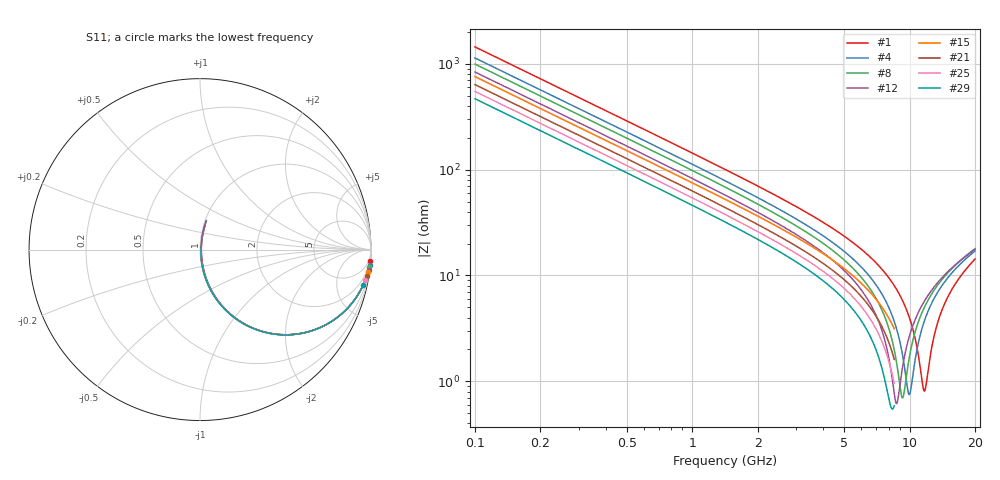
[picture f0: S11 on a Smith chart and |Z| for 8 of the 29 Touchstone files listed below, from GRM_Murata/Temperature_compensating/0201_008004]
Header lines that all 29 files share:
!These Parameters are Measured in Series Mode Connection
!Data Generated on Mar 30, 2021
!  o--ll--o
!Port1  Port2
!  o------o
!Operation Temp=25[degC], DC Bias Voltage=0[V]
# Hz S RI R 50
!Freq.(Hz) S11(Real) S11(Imag) S21(Real) S21(Imag) S12(Real) S12(Imag) S22(Real) S22(Imag)
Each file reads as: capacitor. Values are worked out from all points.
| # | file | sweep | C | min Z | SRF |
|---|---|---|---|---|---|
| 1 | GRM0115C1C1R1CE11.s2p | 100 MHz to 20 GHz | 1.1 pF | 807 mohm | 11.7 GHz |
| 2 | GRM0115C1C1R2CE01.s2p | 100 MHz to 20 GHz | 1.2 pF | 774 mohm | 10.5 GHz |
| 3 | GRM0115C1C1R3CE11.s2p | 100 MHz to 20 GHz | 1.3 pF | 795 mohm | 10.6 GHz |
| 4 | GRM0115C1C1R4BE01.s2p | 100 MHz to 20 GHz | 1.4 pF | 748 mohm | 9.964 GHz |
| 5 | GRM0115C1C1R4CE11.s2p | 100 MHz to 20 GHz | 1.4 pF | 793 mohm | 10.09 GHz |
| 6 | GRM0115C1C1R5BE11.s2p | 100 MHz to 20 GHz | 1.5 pF | 788 mohm | 9.77 GHz |
| 7 | GRM0115C1C1R5CE01.s2p | 100 MHz to 20 GHz | 1.5 pF | 712 mohm | 9.578 GHz |
| 8 | GRM0115C1C1R6BE01.s2p | 100 MHz to 20 GHz | 1.6 pF | 697 mohm | 9.278 GHz |
| 9 | GRM0115C1C1R6BE11.s2p | 100 MHz to 20 GHz | 1.6 pF | 786 mohm | 9.395 GHz |
| 10 | GRM0115C1C1R7CE11.s2p | 100 MHz to 20 GHz | 1.7 pF | 783 mohm | 9.084 GHz |
| 11 | GRM0115C1C1R8BE01.s2p | 100 MHz to 20 GHz | 1.8 pF | 636 mohm | 8.982 GHz |
| 12 | GRM0115C1C1R9CE01.s2p | 100 MHz to 20 GHz | 1.9 pF | 615 mohm | 8.708 GHz |
| 13 | GRM0115C1C1R9WE11.s2p | 100 MHz to 20 GHz | 1.9 pF | 761 mohm | 8.635 GHz |
| 14 | GRM0115C1C2R0CE11.s2p | 100 MHz to 20 GHz | 2 pF | 748 mohm | 8.393 GHz |
| 15 | GRM0115C1C2R1BE01.s2p | 100 MHz to 8.5 GHz | 2.1 pF | 3.13 ohm | - |
| 16 | GRM0115C1C2R2BE11.s2p | 100 MHz to 8.5 GHz | 2.2 pF | 2.74 ohm | - |
| 17 | GRM0115C1C2R2CE01.s2p | 100 MHz to 8.5 GHz | 2.2 pF | 2.74 ohm | - |
| 18 | GRM0115C1C2R3BE01.s2p | 100 MHz to 8.5 GHz | 2.3 pF | 2.23 ohm | - |
| 19 | GRM0115C1C2R3BE11.s2p | 100 MHz to 8.5 GHz | 2.3 pF | 2.23 ohm | - |
| 20 | GRM0115C1C2R4CE01.s2p | 100 MHz to 8.5 GHz | 2.4 pF | 1.91 ohm | - |
| 21 | GRM0115C1C2R5CE01.s2p | 100 MHz to 8.5 GHz | 2.5 pF | 1.61 ohm | - |
| 22 | GRM0115C1C2R6CE01.s2p | 100 MHz to 8.5 GHz | 2.6 pF | 1.38 ohm | - |
| 23 | GRM0115C1C2R7CE01.s2p | 100 MHz to 8.5 GHz | 2.7 pF | 1.15 ohm | - |
| 24 | GRM0115C1C2R8BE01.s2p | 100 MHz to 8.5 GHz | 2.8 pF | 953 mohm | - |
| 25 | GRM0115C1C2R9BE01.s2p | 100 MHz to 8.5 GHz | 2.9 pF | 954 mohm | - |
| 26 | GRM0115C1C3R1BE01.s2p | 100 MHz to 8.5 GHz | 3.1 pF | 669 mohm | - |
| 27 | GRM0115C1C3R2BE01.s2p | 100 MHz to 8.5 GHz | 3.2 pF | 570 mohm | - |
| 28 | GRM0115C1C3R3CE01.s2p | 100 MHz to 8.5 GHz | 3.3 pF | 550 mohm | 8.474 GHz |
| 29 | GRM0115C1C3R4BE01.s2p | 100 MHz to 8.5 GHz | 3.4 pF | 546 mohm | 8.344 GHz |
